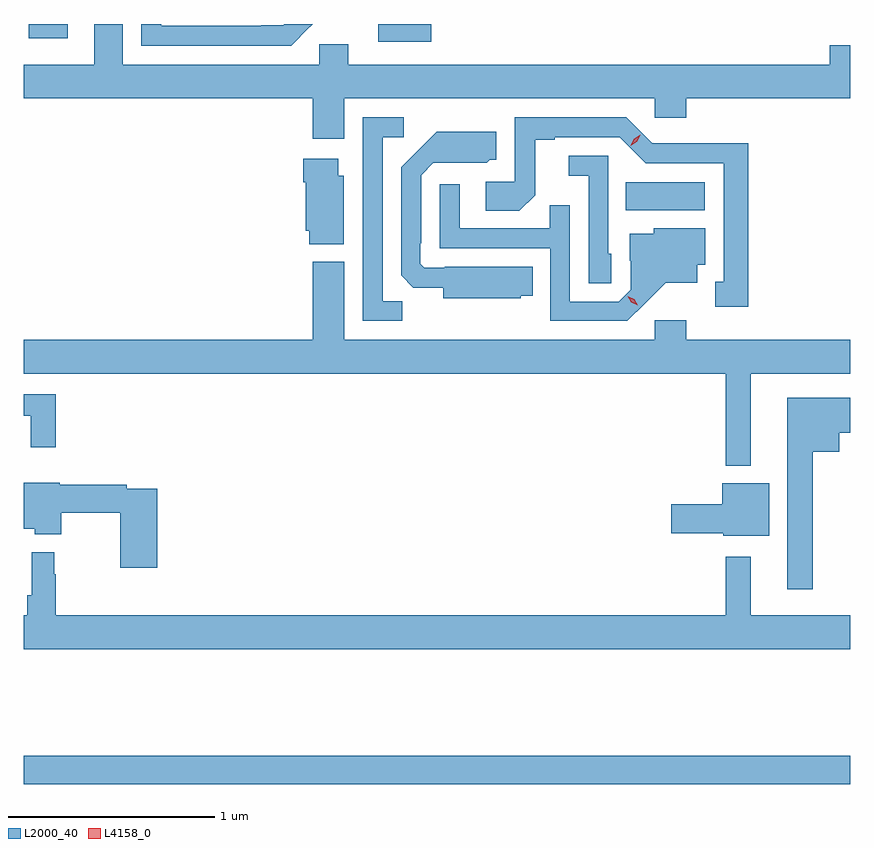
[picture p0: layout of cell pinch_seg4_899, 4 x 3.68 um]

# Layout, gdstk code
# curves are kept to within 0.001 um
import gdstk
lib = gdstk.Library(unit=1e-6, precision=1e-09)
def R(c, l, rs):  # rectangles x0, y0, x1, y1
    for r in rs: c.add(gdstk.rectangle(r[:2], r[2:], *l))
def P(c, l, *ps):  # polygons
    for p in ps: c.add(gdstk.Polygon(p, *l))
L2000_40 = (2000, 40)
L4158_0 = (4158, 0)

pinch_seg4_899 = lib.new_cell('pinch_seg4_899')
R(pinch_seg4_899, L2000_40, [(746.286,818.812,750.286,818.948), (749.2,821.588,749.581,821.722), (748.002,822.402,748.259,822.488), (746.311,822.42,746.5,822.488)])
P(pinch_seg4_899, L2000_40, [(747.838,822.128),(749.34,822.128),(749.34,822.035),(749.492,822.035),(749.492,822.128),(750.286,822.128),(750.286,822.385),(750.185,822.385),(750.185,822.292),(747.856,822.292),(747.856,822.39),(747.717,822.39),(747.717,822.292),(746.767,822.292),(746.767,822.488),(746.627,822.488),(746.627,822.292),(746.286,822.292),(746.286,822.128),(747.686,822.128),(747.686,821.934),(747.838,821.934)],
  [(747.671,822.475),(747.672,822.474),(747.686,822.488),(747.548,822.488),(747.541,822.481),(747.437,822.481),(747.437,822.48),(746.953,822.48),(746.953,822.488),(746.856,822.488),(746.856,822.384),(747.58,822.384)],
  [(749.791,821.912),(749.55,821.912),(749.55,821.91),(749.328,821.91),(749.202,822.036),(748.662,822.036),(748.662,821.724),(748.521,821.724),(748.521,821.584),(748.685,821.584),(748.761,821.66),(748.761,821.928),(748.855,821.928),(748.855,821.94),(749.169,821.94),(749.295,821.814),(749.672,821.814),(749.672,821.241),(749.633,821.241),(749.633,821.121),(749.791,821.121)],
  [(748.119,821.147),(748.023,821.147),(748.023,821.94),(748.126,821.94),(748.126,822.036),(747.927,822.036),(747.927,821.052),(748.119,821.052)],
  [(748.692,821.174),(748.748,821.174),(748.748,821.314),(748.324,821.314),(748.324,821.31),(748.224,821.31),(748.206,821.328),(748.206,821.428),(748.209,821.428),(748.209,821.757),(748.269,821.817),(748.526,821.816),(748.542,821.832),(748.573,821.832),(748.573,821.968),(748.285,821.968),(748.113,821.794),(748.113,821.272),(748.172,821.213),(748.316,821.213),(748.316,821.162),(748.692,821.162)],
  [(749.13,821.376),(749.115,821.376),(749.115,821.85),(748.923,821.85),(748.923,821.753),(749.019,821.753),(749.019,821.233),(749.13,821.233)],
  [(747.835,821.754),(747.808,821.754),(747.808,821.836),(747.638,821.836),(747.638,821.723),(747.65,821.723),(747.65,821.487),(747.668,821.487),(747.668,821.423),(747.835,821.423)],
  [(749.29,821.135),(749.393,821.237),(749.545,821.237),(749.545,821.324),(749.584,821.324),(749.584,821.5),(749.334,821.5),(749.334,821.473),(749.219,821.473),(749.219,821.344),(749.223,821.344),(749.223,821.202),(749.166,821.145),(748.929,821.145),(748.929,821.612),(748.831,821.612),(748.831,821.499),(748.395,821.499),(748.395,821.713),(748.299,821.713),(748.299,821.403),(748.833,821.403),(748.833,821.052),(749.206,821.052)],
  [(749.803,820.796),(750.286,820.796),(750.286,820.96),(749.492,820.96),(749.492,821.056),(749.34,821.056),(749.34,820.96),(747.838,820.96),(747.838,821.338),(747.686,821.338),(747.686,820.96),(746.286,820.96),(746.286,820.796),(749.682,820.796),(749.682,820.352),(749.803,820.352)],
  [(746.443,820.696),(746.286,820.696),(746.286,820.592),(746.321,820.592),(746.321,820.44),(746.443,820.44)],
  [(750.103,820.418),(750.232,820.418),(750.232,820.511),(750.286,820.511),(750.286,820.681),(749.981,820.681),(749.981,819.753),(750.103,819.753)],
  [(746.933,820.239),(746.786,820.239),(746.786,820.259),(746.461,820.259),(746.461,820.27),(746.286,820.27),(746.286,820.046),(746.34,820.046),(746.34,820.019),(746.469,820.019),(746.469,820.123),(746.755,820.123),(746.755,819.858),(746.933,819.858)],
  [(749.893,820.267),(749.666,820.267),(749.666,820.166),(749.418,820.166),(749.418,820.024),(749.67,820.024),(749.67,820.013),(749.893,820.013)],
  [(750.286,819.628),(749.803,819.628),(749.803,819.91),(749.682,819.91),(749.682,819.628),(746.441,819.628),(746.441,819.827),(746.434,819.827),(746.434,819.934),(746.325,819.934),(746.325,819.724),(746.305,819.724),(746.305,819.628),(746.286,819.628),(746.286,819.464),(750.286,819.464)])
P(pinch_seg4_899, L4158_0, [(749.222,821.9),(749.222,821.901),(749.239,821.933),(749.27,821.953),(749.27,821.953),(749.27,821.952),(749.254,821.92),(749.222,821.9)],
  [(749.257,821.127),(749.226,821.142),(749.209,821.172),(749.209,821.172),(749.209,821.172),(749.24,821.157),(749.258,821.127),(749.258,821.127)])

lib.write_gds('pinch_seg4_899.gds')
